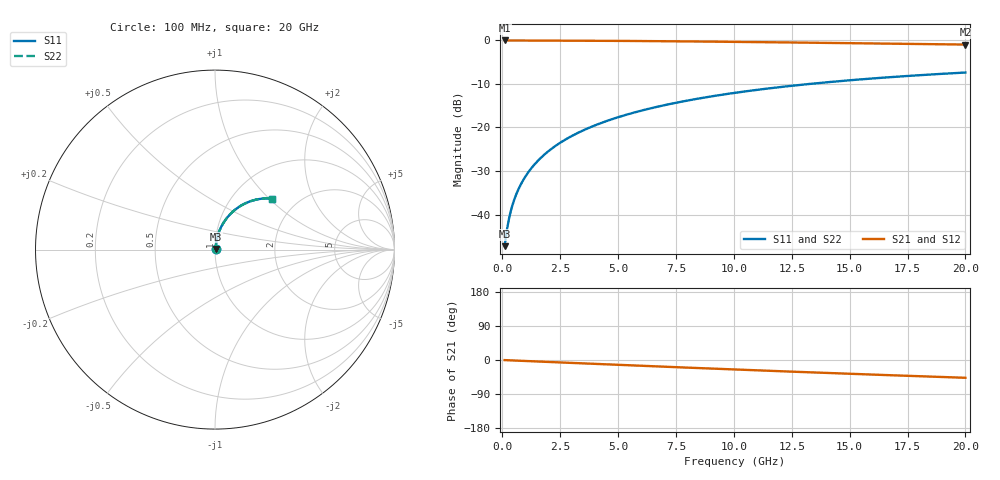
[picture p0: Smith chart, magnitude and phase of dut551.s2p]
! Touchstone file exported from HFSS 2026.1.0
!  File:  C:/ffzhzh/LocalFiles/Ansys_Project_Files/temp_train_BSMRDL_551_1783015124_4048.aedt
!  Generated:  02:00:22 AM Jul  3, 2026
!  Design:  BSMRDL
!  Project:  temp_train_BSMRDL_551_1783015124_4048
! Variables:
!  h_bsmrdl = 3.03um
!  h_ox = 20um
!  h_rdl = 5um
!  h_sub = 80um
!  h_tmrdl = 5um
!  h_tsv = 80um
!  h_via = 3um
!  l_bsmrdl = 677.96um
!  l_sub = 1077.96um
!  l_tmrdl = 200um
!  m_sub = 200um
!  pitch = 58.78um
!  r_tsv = 6um
!  s_tmrdl = 10um
!  w_bsmrdl = 27.19um
!  w_sub = 500um
!  w_tmrdl = 12um
!  x_tsv_center1 = 206um
!  x_tsv_center2 = 911.15um
!  x_tsv_center3 = 1123.15um
!  x_tsv_center4 = 1828.3um
!  x_tsv_center5 = 2040.3um
!  x_tsv_center6 = 2745.45um
# GHz S MA R 50.000000
! Terminal data exported
! Port[1] = BSM_RDL1_1_T1
! Port[2] = BSM_RDL1_1_T2
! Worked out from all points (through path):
!   200 points, 100 MHz to 20 GHz, reference 50 ohm
!   highest |S21| = -0.03 dB at 100 MHz (marker M1); lowest = -1.0 dB at 20 GHz (marker M2)
!   group delay of S21, straight-line fit = 6.53 ps
!   lowest |S11| = -47.3 dB at 100 MHz (marker M3), VSWR 1.01, Z = 50.3 + j0.294 ohm
!   |S11| at or under -10 dB: start of sweep to 13.29 GHz
!   |S22| runs from -47.3 to -7.4 dB; largest |S21 - S12| = 2.6e-15
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0.1  0.004334 42.4  0.9968 -0.3  0.9968 -0.3  0.004334 42.4
! Gamma 0 0 0 0
! Port Impedance 50 0 50 0
0.2  0.006696 59.5  0.9966 -0.5  0.9966 -0.5  0.006695 59.5
0.3  0.009259 66.8  0.9964 -0.8  0.9964 -0.8  0.009259 66.8
0.4  0.01184 70.7  0.9962 -1.1  0.9962 -1.1  0.01184 70.7
0.5  0.01442 73.3  0.9961 -1.3  0.9961 -1.3  0.01442 73.3
0.6  0.017 75.1  0.9959 -1.6  0.9959 -1.6  0.017 75.1
0.8  0.02217 77.3  0.9957 -2.1  0.9957 -2.1  0.02217 77.3
1.1  0.02998 79.1  0.9954 -2.8  0.9954 -2.8  0.02998 79.1
1.3  0.03522 79.7  0.9952 -3.4  0.9952 -3.4  0.03522 79.7
1.6  0.04308 80.1  0.9948 -4.1  0.9948 -4.1  0.04308 80.1
2.1  0.05621 80.0  0.994 -5.4  0.994 -5.4  0.05621 80.0
2.7  0.07191 79.3  0.9928 -6.9  0.9928 -6.9  0.07191 79.3
3.5  0.0927 78.0  0.9908 -9.0  0.9908 -9.0  0.0927 78.0
4.2  0.1107 76.5  0.9886 -10.7  0.9886 -10.7  0.1107 76.6
5  0.131 74.8  0.9858 -12.8  0.9858 -12.8  0.131 74.8
5.9  0.1534 72.8  0.9822 -15.0  0.9822 -15.0  0.1534 72.8
6.8  0.1753 70.7  0.9781 -17.2  0.9781 -17.2  0.1753 70.7
8.3  0.2106 67.2  0.9704 -20.9  0.9704 -20.9  0.2106 67.2
10.1  0.2509 63.0  0.9601 -25.2  0.9601 -25.2  0.2509 63.0
13.4  0.3183 55.6  0.939 -32.8  0.939 -32.8  0.3183 55.6
16.7  0.377 48.5  0.9165 -40.0  0.9165 -40.0  0.377 48.5
20  0.4269 41.7  0.8942 -46.9  0.8942 -46.9  0.4269 41.8
